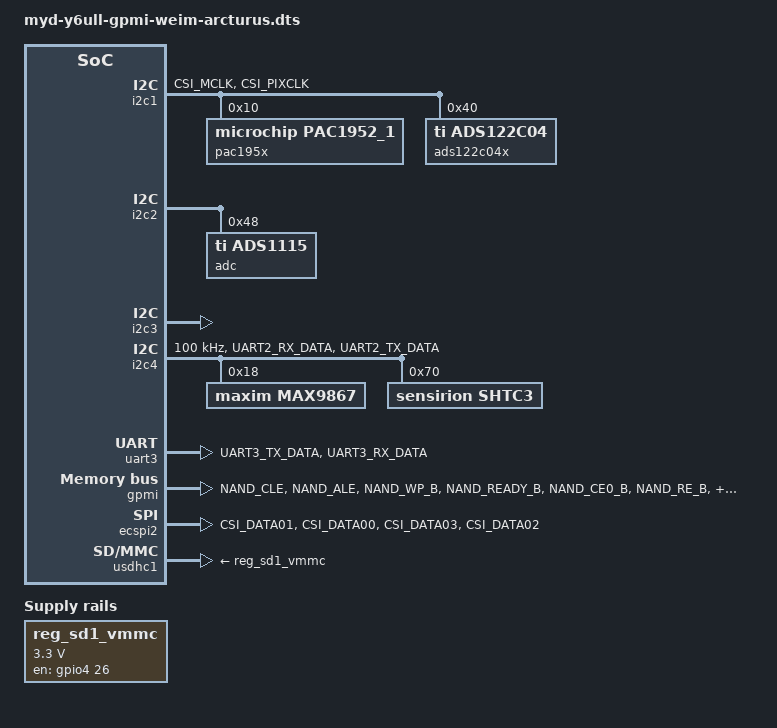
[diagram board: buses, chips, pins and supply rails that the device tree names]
/*
 * Copyright (C) 2016 Freescale Semiconductor, Inc.
 * Copyright (C) myir alex 
 * This program is free software; you can redistribute it and/or modify
 * it under the terms of the GNU General Public License version 2 as
 * published by the Free Software Foundation.
 */

#include "myb-imx6ull-14x14-base.dts"

/ {
 	sound_card: sound-card {
                compatible = "simple-audio-card";
                simple-audio-card,format = "i2s";
                simple-audio-card,frame-master = <&dailink_master>;
                simple-audio-card,bitclock-master = <&dailink_master>;
                simple-audio-card,name = "max9867";
                status = "okay";
                simple-audio-card,routing =
                    "Left Line", "LOUT",
                    "Right Line", "ROUT";
                simple-audio-card,widgets =
                    "Headphones", "Headphones",
                    "Line", "Left Line",
                    "Line", "Right Line",
                    "Speaker", "Speaker";
                
                dailink_master: simple-audio-card,cpu {
                        sound-dai = <&sai2>;
                        clocks = <&clks IMX6UL_CLK_SAI2>;
                };

                simple-audio-card,codec{
                        sound-dai = <&max9867>;
                };

        };
    reg_sd1_vmmc: regulator-sd1-vmmc {
		compatible = "regulator-fixed";
		regulator-name = "VSD_3V3";
		regulator-min-microvolt = <3300000>;
		regulator-max-microvolt = <3300000>;
		gpio = <&gpio4 26 GPIO_ACTIVE_HIGH>;
		off-on-delay-us = <20000>;
		enable-active-high;
	};
    /delete-node/ sound;
};

/delete-node/ &backlight_display;
/delete-node/ &lcdif;

&can1 {
    status = "disabled";
};

&can2 {
    status = "disabled";
};

&fec2 {
    status = "disabled";
};

&i2c1 {
    pinctrl-names = "default";
	pinctrl-0 = <&pinctrl_i2c1>;
    status = "okay";
    #address-cells = <1>;
    #size-cells = <0>;

    pac195x@10 {
        compatible = "microchip,pac1952_1";
        reg = <0x10>;

        #address-cells = <1>;
        #size-cells = <0>;

        microchip,samp-rate = "64";
        status = "okay";

        ch1: channel1@1 {
            reg = <0x1>;
            microchip,uohms-shunt-res = <10000000>; /* shunt resistor is 10 ohm */
            microchip,rail-name = "BATTERY";
            microchip,vbus-mode = <1>;
            microchip,vsense-mode = <1>;
            microchip,accumulation-mode = <0>;
        };

        ch2: channel4@4 {
            reg = <0x4>;
            microchip,uohms-shunt-res = <10000000>; /* shunt resistor is 10 ohm */
            microchip,rail-name = "SOLAR_PWR";
            microchip,vbus-mode = <1>;
            microchip,vsense-mode = <1>;
            microchip,accumulation-mode = <0>;
        };
    };

    ads122c04x@40 {
        compatible = "ti,ads122c04";
        reg = <0x40>;

        #address-cells = <1>;
        #size-cells = <0>;
        status = "okay";

        ti,idac-cfg = <5>;
        ti,idac1-route = <3>;
        ti,idac2-route = <4>;

        ch0: channel3@3 {
            reg = <0x3>;
            ti,gain = <3>;
            ti,datarate = <0>;
            ti,vref = <1>;
        };
    };
    
};

&i2c2 {
    #address-cells = <1>;
    #size-cells = <0>;
    status = "okay";

    /delete-node/ codec;
    /delete-node/ ft5x06;
    /delete-node/ ov2659;
    adc@48 {
        compatible = "ti,ads1115";
        reg = <0x48>;
        #address-cells = <1>;
        #size-cells = <0>;

        channel@0 {
            reg = <0>;
            ti,gain = <0>;
            ti,datarate = <6>;
        };

        channel@6 {
            reg = <6>;
            ti,gain = <0>;
            ti,datarate = <6>;        
        };

        channel@7 {
            reg = <7>;
            ti,gain = <0>;
            ti,datarate = <6>;
        };
    };
};

&i2c3 {
    status = "okay";
};

&i2c4 {
	clock-frequency = <100000>;
	pinctrl-names = "default";
	pinctrl-0 = <&pinctrl_i2c4>;
	status = "okay";

	max9867: max9867@18 {
		compatible = "maxim,max9867";
        clocks = <&clks IMX6UL_CLK_SAI2>;
		#sound-dai-cells = <0>;
		reg = <0x18>;
	};

    /* Temperature, humidty sensor */
	shtc3: shtc3@70 {
		compatible = "sensirion,shtc3";
		reg = <0x70>;
		sensirion,blocking-io;
	};
};

&uart2 {
    status = "disabled";
};

&uart3 {
	pinctrl-names = "default";
	pinctrl-0 = <&pinctrl_uart3>;
	//uart-has-rtscts;
	status = "okay";
};

&uart4 {
    status = "disabled";
};

&gpmi {
	pinctrl-names = "default";
	pinctrl-0 = <&pinctrl_gpmi_nand_1>;
	nand-on-flash-bbt;
    status = "okay";
};

&ecspi2 {
    pinctrl-names = "default";
    pinctrl-0 = <&pinctrl_wifi_spi>;
    spi-max-frequency = <4000000>;
    status = "okay";
};

&iomuxc {
    pinctrl-names = "default";
	pinctrl-0 = <&pinctrl_hog_1>;
    imx6ul-evk {
        pinctrl_hog_1: hoggrp-1 {
            fsl,pins = <
                MX6UL_PAD_UART1_RTS_B__GPIO1_IO19   0x17059 /* SD1 CD */
                MX6UL_PAD_GPIO1_IO09__GPIO1_IO09    0x17059 /* LCD_DISP */
                MX6UL_PAD_NAND_CE1_B__GPIO4_IO14    0x17059 /* LTE Reset */
                MX6UL_PAD_LCD_DATA17__GPIO3_IO22    0x000010B0
                MX6UL_PAD_SNVS_TAMPER2__GPIO5_IO02  0x1b0b0 /* PT100 Reset - SODDIM 13 */
                MX6UL_PAD_SNVS_TAMPER6__GPIO5_IO06  0x1b0b0 /* PTA1 */
                MX6UL_PAD_SNVS_TAMPER4__GPIO5_IO04  0x1b0b0 /* PTA2 */
            >;
        };

	    pinctrl_gpmi_nand_1: gpmi-nand-1 {
		    fsl,pins = <
			    MX6UL_PAD_NAND_CLE__RAWNAND_CLE         0xb0b1
			    MX6UL_PAD_NAND_ALE__RAWNAND_ALE         0xb0b1
			    MX6UL_PAD_NAND_WP_B__RAWNAND_WP_B       0xb0b1
			    MX6UL_PAD_NAND_READY_B__RAWNAND_READY_B 0xb000
			    MX6UL_PAD_NAND_CE0_B__RAWNAND_CE0_B     0xb0b1
			    MX6UL_PAD_NAND_RE_B__RAWNAND_RE_B       0xb0b1
			    MX6UL_PAD_NAND_WE_B__RAWNAND_WE_B       0xb0b1
			    MX6UL_PAD_NAND_DATA00__RAWNAND_DATA00   0xb0b1
			    MX6UL_PAD_NAND_DATA01__RAWNAND_DATA01   0xb0b1
			    MX6UL_PAD_NAND_DATA02__RAWNAND_DATA02   0xb0b1
			    MX6UL_PAD_NAND_DATA03__RAWNAND_DATA03   0xb0b1
			    MX6UL_PAD_NAND_DATA04__RAWNAND_DATA04   0xb0b1
			    MX6UL_PAD_NAND_DATA05__RAWNAND_DATA05   0xb0b1
			    MX6UL_PAD_NAND_DATA06__RAWNAND_DATA06   0xb0b1
			    MX6UL_PAD_NAND_DATA07__RAWNAND_DATA07   0xb0b1
		    >;
	    };

        pinctrl_i2c1: i2c1grp{
            fsl,pins = <
                MX6UL_PAD_CSI_MCLK__I2C1_SDA    0x4001b8b0
                MX6UL_PAD_CSI_PIXCLK__I2C1_SCL  0x4001b8b0
            >;
        };

        pinctrl_i2c4: i2c4grp {
		    fsl,pins = <
			    MX6UL_PAD_UART2_RX_DATA__I2C4_SDA 0x4001b8b0
			    MX6UL_PAD_UART2_TX_DATA__I2C4_SCL 0x4001b8b0
		    >;
	    };

        pinctrl_wifi_ctrl: wifictrlgrp {
            fsl,pins =
                <MX6UL_PAD_CSI_DATA03__GPIO4_IO24		0x10b0>;	/* WIFI_WKUP_WLAN */
        };

        pinctrl_wifi_spi: wifispigrp {
            fsl,pins = <
                MX6UL_PAD_CSI_DATA01__ECSPI2_SS0		0x100b1	/* WIFI_SPI_CS */
                MX6UL_PAD_CSI_DATA00__ECSPI2_SCLK		0x100b1	/* WIFI_SPI_CLK */
                MX6UL_PAD_CSI_DATA03__ECSPI2_MISO		0x100b1	/* WIFI_SPI_MISO */
                MX6UL_PAD_CSI_DATA02__ECSPI2_MOSI		0x100b1 /* WIFI_SPI_MOSI */
            >;	
        };

        pinctrl_wifi_spi_int: wifispiintgrp {
            fsl,pins =
                <MX6UL_PAD_CSI_DATA07__GPIO4_IO28		0x10b0>;	/* WIFI_SPI_INTERRUPT_PIN */
        };

        pinctrl_wifi_reset_en: wifiresetengrp {
            fsl,pins =
                <MX6UL_PAD_CSI_VSYNC__GPIO4_IO19		0x10b0>;	/* WIFI_RESET */
        };

	    pinctrl_uart3: uart3grp {
		    fsl,pins = <
                MX6UL_PAD_UART3_TX_DATA__UART3_DCE_TX	0x1b0b1
                MX6UL_PAD_UART3_RX_DATA__UART3_DCE_RX	0x1b0b1
			    //MX6UL_PAD_UART3_RTS_B__UART3_DCE_RTS	0x1b0b1
			    //MX6UL_PAD_UART3_CTS_B__UART3_DCE_CTS	0x1b0b1
		    >;
	    };
    };
};

&usdhc1 {
    vmmc-supply = <&reg_sd1_vmmc>;
	status = "okay";
};

&usdhc2 {
    #address-cells = <1>;
    #size-cells = <0>;
    pinctrl-names = "default";
    max-frequency = <50000000>;
    pinctrl-0 = <&pinctrl_usdhc2_alt &pinctrl_wifi>;
    bus-width = <4>;
    no-1-8-v;   /* force 3.3V VIO */
    non-removable;
    pm-ignore-notify;
    cap-power-off-card;
//    /delete-property/ wakeup-source;
    status = "disabled";

    brcmf: bcrmf@1 {
        reg = <1>;
        compatible = "brcm,bcm4329-fmac";
    };
};

